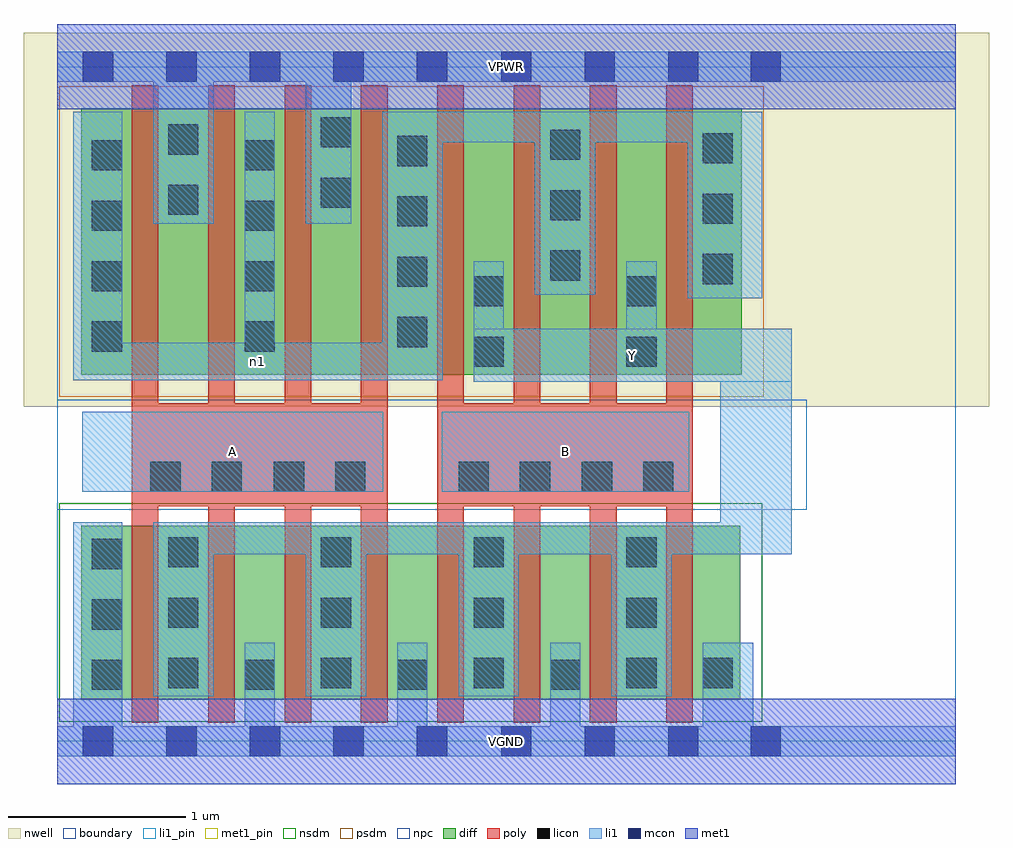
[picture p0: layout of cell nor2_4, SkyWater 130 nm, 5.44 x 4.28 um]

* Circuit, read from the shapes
.subckt nor2_4 A B VGND VPWR Y n1
XM1 Y A VGND VSUBS sky130_fd_pr__nfet_01v8 w=0.98 l=0.15 m=4
XM2 Y B VGND VSUBS sky130_fd_pr__nfet_01v8 w=0.98 l=0.15 m=4
XM3 VPWR A n1 n2 sky130_fd_pr__pfet_01v8 w=1.5 l=0.15 m=4
XM4 Y B n1 n2 sky130_fd_pr__pfet_01v8 w=1.5 l=0.15 m=4
.ends

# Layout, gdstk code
import gdstk
lib = gdstk.Library(unit=1e-6, precision=1e-09)
def R(c, l, rs):  # rectangles x0, y0, x1, y1
    for r in rs: c.add(gdstk.rectangle(r[:2], r[2:], *l))
def A(c, l, x, y, w, h, nx, ny, dx, dy):  # array of equal rectangles
    R(c, l, [(x+i*dx, y+j*dy, x+i*dx+w, y+j*dy+h) for i in range(nx) for j in range(ny)])
nwell = (64, 20)
diff = (65, 20)
poly = (66, 20)
licon = (66, 44)
li1_pin = (67, 16)
li1 = (67, 20)
mcon = (67, 44)
met1_pin = (68, 16)
met1 = (68, 20)
nsdm = (93, 44)
psdm = (94, 20)
npc = (95, 20)
boundary = (235, 4)

nor2_4 = lib.new_cell('nor2_4')
R(nor2_4, nwell, [(-0.19,1.885,5.25,3.99), (0,1.885,5.06,3.99)])
R(nor2_4, diff, [(0.135,0.235,3.845,1.215), (0.135,2.065,3.855,3.565)])
A(nor2_4, poly, 0.42, 0.105, 0.15, 3.59, 8, 1, 0.43, 0)
R(nor2_4, poly, [(0.42,1.325,1.86,1.905), (2.14,1.325,3.58,1.905)])
A(nor2_4, licon, 0.195, 0.29, 0.17, 0.17, 4, 1, 0.86, 0)
A(nor2_4, licon, 0.625, 0.3, 0.17, 0.17, 4, 3, 0.86, 0.34)
A(nor2_4, licon, 0.195, 2.195, 0.17, 0.17, 1, 4, 0, 0.34)
A(nor2_4, licon, 1.055, 2.195, 0.17, 0.17, 1, 4, 0, 0.34)
A(nor2_4, licon, 1.915, 2.22, 0.17, 0.17, 1, 4, 0, 0.34)
A(nor2_4, licon, 3.635, 2.575, 0.17, 0.17, 1, 3, 0, 0.34)
A(nor2_4, licon, 2.775, 2.595, 0.17, 0.17, 1, 3, 0, 0.34)
R(nor2_4, licon, [(3.635,0.3,3.805,0.47), (0.195,0.63,0.365,0.8), (0.195,0.97,0.365,1.14), (0.525,1.405,0.695,1.575), (0.87,1.405,1.04,1.575), (1.22,1.405,1.39,1.575), (1.565,1.405,1.735,1.575), (2.26,1.405,2.43,1.575), (2.605,1.405,2.775,1.575), (2.955,1.405,3.125,1.575), (3.3,1.405,3.47,1.575), (2.345,2.11,2.515,2.28), (3.205,2.11,3.375,2.28), (2.345,2.45,2.515,2.62), (3.205,2.45,3.375,2.62), (0.625,2.965,0.795,3.135), (1.485,3.005,1.655,3.175), (0.625,3.305,0.795,3.475), (1.485,3.345,1.655,3.515)])
R(nor2_4, li1_pin, [(0.14,1.405,1.835,1.855), (2.165,1.405,3.56,1.855), (2.345,2.025,4.135,2.325)])
A(nor2_4, li1, 1.055, -0.085, 0.17, 0.64, 3, 1, 0.86, 0)
A(nor2_4, li1, 0.54, 0.255, 0.34, 0.98, 4, 1, 0.86, 0)
R(nor2_4, li1, [(0,-0.085,5.06,0.085), (0.09,-0.085,0.365,1.235), (3.635,-0.085,3.92,0.555), (0.54,1.055,4.135,1.235), (3.735,1.055,4.135,2.325), (0.14,1.405,1.835,1.855), (2.165,1.405,3.56,1.855), (2.345,2.025,4.135,2.325), (2.345,2.025,2.515,2.705), (3.205,2.025,3.375,2.705), (0.09,2.035,2.17,2.245), (0.09,2.035,0.365,3.545), (1.055,2.035,1.225,3.545), (1.83,2.035,2.17,3.545), (3.55,2.495,3.97,3.545), (2.69,2.515,3.03,3.545), (0.54,2.915,0.88,3.885), (1.4,2.915,1.655,3.885), (1.83,3.375,3.97,3.545), (0,3.715,5.06,3.885)])
A(nor2_4, mcon, 0.145, -0.085, 0.17, 0.17, 5, 2, 0.47, 3.8)
A(nor2_4, mcon, 2.5, -0.085, 0.17, 0.17, 3, 2, 0.47, 3.8)
R(nor2_4, mcon, [(3.905,-0.085,4.075,0.085), (3.905,3.715,4.075,3.885)])
R(nor2_4, met1_pin, [(0,-0.24,5.06,0.24), (0,3.56,5.06,4.04)])
R(nor2_4, met1, [(0,-0.24,5.06,0.24), (0,3.56,5.06,4.04)])
R(nor2_4, nsdm, [(0.01,0.11,3.97,1.34)])
R(nor2_4, psdm, [(0.01,1.94,3.98,3.69)])
R(nor2_4, npc, [(0,1.305,4.22,1.925)])
R(nor2_4, boundary, [(0,0,5.06,3.8)])
nor2_4.add(gdstk.Label('A', (0.987,1.63), layer=67, texttype=5))
nor2_4.add(gdstk.Label('B', (2.862,1.63), layer=67, texttype=5))
nor2_4.add(gdstk.Label('Y', (3.24,2.175), layer=67, texttype=5))
nor2_4.add(gdstk.Label('n1', (1.13,2.14), layer=67, texttype=5))
nor2_4.add(gdstk.Label('VPWR', (2.53,3.8), layer=68, texttype=5))
nor2_4.add(gdstk.Label('VGND', (2.53,0), layer=68, texttype=5))
nor2_4.add(gdstk.Label('A', (0.987,1.63), layer=67, texttype=16))
nor2_4.add(gdstk.Label('B', (2.862,1.63), layer=67, texttype=16))
nor2_4.add(gdstk.Label('Y', (3.24,2.175), layer=67, texttype=16))
nor2_4.add(gdstk.Label('VPWR', (2.53,3.8), layer=68, texttype=16))
nor2_4.add(gdstk.Label('VGND', (2.53,0), layer=68, texttype=16))

lib.write_gds('nor2_4.gds')
